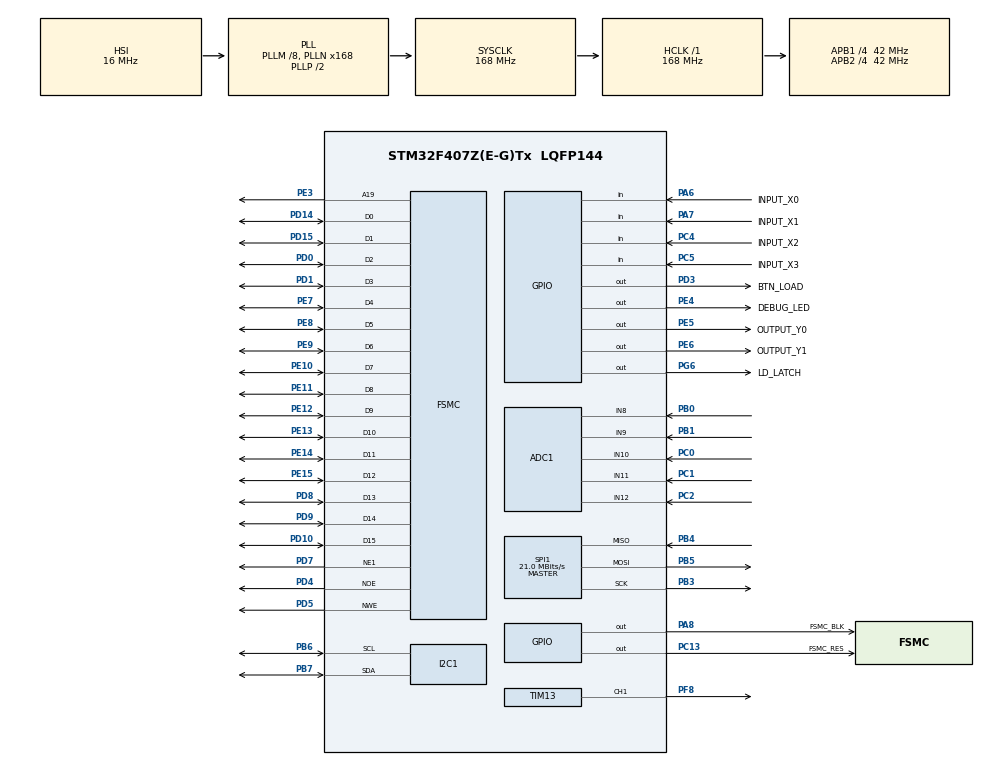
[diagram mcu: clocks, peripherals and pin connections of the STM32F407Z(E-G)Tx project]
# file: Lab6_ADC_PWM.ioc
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ADC1.Channel-0\#ChannelRegularConversion=ADC_CHANNEL_8
ADC1.Channel-1\#ChannelRegularConversion=ADC_CHANNEL_9
ADC1.Channel-2\#ChannelRegularConversion=ADC_CHANNEL_10
ADC1.Channel-3\#ChannelRegularConversion=ADC_CHANNEL_11
ADC1.Channel-4\#ChannelRegularConversion=ADC_CHANNEL_12
ADC1.NbrOfConversion=5
ADC1.NbrOfConversionFlag=1
ADC1.Rank-0\#ChannelRegularConversion=1
ADC1.Rank-1\#ChannelRegularConversion=2
ADC1.Rank-2\#ChannelRegularConversion=3
ADC1.Rank-3\#ChannelRegularConversion=4
ADC1.Rank-4\#ChannelRegularConversion=5
ADC1.SamplingTime-0\#ChannelRegularConversion=ADC_SAMPLETIME_3CYCLES
ADC1.SamplingTime-1\#ChannelRegularConversion=ADC_SAMPLETIME_3CYCLES
ADC1.SamplingTime-2\#ChannelRegularConversion=ADC_SAMPLETIME_3CYCLES
ADC1.SamplingTime-3\#ChannelRegularConversion=ADC_SAMPLETIME_3CYCLES
ADC1.SamplingTime-4\#ChannelRegularConversion=ADC_SAMPLETIME_3CYCLES
ADC1.ScanConvMode=ENABLE
ADC1.master=1
Dma.ADC1.0.Direction=DMA_PERIPH_TO_MEMORY
Dma.ADC1.0.FIFOMode=DMA_FIFOMODE_DISABLE
Dma.ADC1.0.Instance=DMA2_Stream0
Dma.ADC1.0.MemDataAlignment=DMA_MDATAALIGN_HALFWORD
Dma.ADC1.0.MemInc=DMA_MINC_ENABLE
Dma.ADC1.0.Mode=DMA_CIRCULAR
Dma.ADC1.0.PeriphDataAlignment=DMA_PDATAALIGN_HALFWORD
Dma.ADC1.0.PeriphInc=DMA_PINC_DISABLE
Dma.ADC1.0.Priority=DMA_PRIORITY_LOW
Dma.Request0=ADC1
FSMC.AddressSetupTime1=0xf
FSMC.BusTurnAroundDuration1=0
FSMC.DataSetupTime1=60
FSMC.ExtendedAddressSetupTime1=8
FSMC.ExtendedBusTurnAroundDuration1=0
FSMC.ExtendedDataSetupTime1=9
FSMC.ExtendedMode1=FSMC_EXTENDED_MODE_ENABLE
Mcu.Family=STM32F4
Mcu.Name=STM32F407Z(E-G)Tx
Mcu.Package=LQFP144
NVIC.DMA2_Stream0_IRQn=true\:0\:0\:false\:false\:true\:false\:true\:true
NVIC.PriorityGroup=NVIC_PRIORITYGROUP_4
NVIC.TIM2_IRQn=true\:0\:0\:false\:false\:true\:true\:true\:true
PA13.Mode=Serial_Wire
PA13.Signal=SYS_JTMS-SWDIO
PA14.Mode=Serial_Wire
PA14.Signal=SYS_JTCK-SWCLK
PA6.GPIO_Label=INPUT_X0
PA6.Signal=GPIO_Input
PA7.GPIO_Label=INPUT_X1
PA7.Signal=GPIO_Input
PA8.GPIO_Label=FSMC_BLK
PA8.Signal=GPIO_Output
PB0.Signal=ADCx_IN8
PB1.Signal=ADCx_IN9
PB3.Mode=Full_Duplex_Master
PB3.Signal=SPI1_SCK
PB4.Mode=Full_Duplex_Master
PB4.Signal=SPI1_MISO
PB5.Mode=Full_Duplex_Master
PB5.Signal=SPI1_MOSI
PB6.Mode=I2C
PB6.Signal=I2C1_SCL
PB7.Mode=I2C
PB7.Signal=I2C1_SDA
PC0.Signal=ADCx_IN10
PC1.Signal=ADCx_IN11
PC13-ANTI_TAMP.GPIO_Label=FSMC_RES
PC13-ANTI_TAMP.Signal=GPIO_Output
PC2.Signal=ADCx_IN12
PC4.GPIO_Label=INPUT_X2
PC4.Signal=GPIO_Input
PC5.GPIO_Label=INPUT_X3
PC5.Signal=GPIO_Input
PD0.Signal=FSMC_D2_DA2
PD1.Signal=FSMC_D3_DA3
PD10.Signal=FSMC_D15_DA15
PD14.Signal=FSMC_D0_DA0
PD15.Signal=FSMC_D1_DA1
PD3.GPIO_Label=BTN_LOAD
PD3.Signal=GPIO_Output
PD4.Signal=FSMC_NOE
PD5.Signal=FSMC_NWE
PD7.Mode=NorPsramChipSelect1_1
PD7.Signal=FSMC_NE1
PD8.Signal=FSMC_D13_DA13
PD9.Signal=FSMC_D14_DA14
PE10.Signal=FSMC_D7_DA7
PE11.Signal=FSMC_D8_DA8
PE12.Signal=FSMC_D9_DA9
PE13.Signal=FSMC_D10_DA10
PE14.Signal=FSMC_D11_DA11
PE15.Signal=FSMC_D12_DA12
PE3.Signal=FSMC_A19
PE4.GPIO_Label=DEBUG_LED
PE4.Signal=GPIO_Output
PE5.GPIO_Label=OUTPUT_Y0
PE5.Signal=GPIO_Output
PE6.GPIO_Label=OUTPUT_Y1
PE6.Signal=GPIO_Output
PE7.Signal=FSMC_D4_DA4
PE8.Signal=FSMC_D5_DA5
PE9.Signal=FSMC_D6_DA6
PF8.Signal=S_TIM13_CH1
PG6.GPIO_Label=LD_LATCH
PG6.Signal=GPIO_Output
PH0-OSC_IN.Mode=HSE-External-Oscillator
PH0-OSC_IN.Signal=RCC_OSC_IN
PH1-OSC_OUT.Mode=HSE-External-Oscillator
PH1-OSC_OUT.Signal=RCC_OSC_OUT
ProjectManager.HeapSize=0x200
ProjectManager.StackSize=0x400
ProjectManager.TargetToolchain=STM32CubeIDE
RCC.48MHZClocksFreq_Value=84000000
RCC.AHBFreq_Value=168000000
RCC.APB1CLKDivider=RCC_HCLK_DIV4
RCC.APB1Freq_Value=42000000
RCC.APB1TimFreq_Value=84000000
RCC.APB2CLKDivider=RCC_HCLK_DIV4
RCC.APB2Freq_Value=42000000
RCC.APB2TimFreq_Value=84000000
RCC.CortexFreq_Value=168000000
RCC.HCLKFreq_Value=168000000
RCC.HSE_VALUE=8000000
RCC.HSI_VALUE=16000000
RCC.LSE_VALUE=32768
RCC.PLLM=8
RCC.PLLN=168
RCC.SYSCLKFreq_VALUE=168000000
RCC.SYSCLKSource=RCC_SYSCLKSOURCE_PLLCLK
RCC.VCOOutputFreq_Value=336000000
SH.ADCx_IN10.0=ADC1_IN10,IN10
SH.ADCx_IN11.0=ADC1_IN11,IN11
SH.ADCx_IN12.0=ADC1_IN12,IN12
SH.ADCx_IN8.0=ADC1_IN8,IN8
SH.ADCx_IN9.0=ADC1_IN9,IN9
SH.FSMC_A19.0=FSMC_A19,A19_1
SH.FSMC_D0_DA0.0=FSMC_D0,16b-d1
SH.FSMC_D10_DA10.0=FSMC_D10,16b-d1
SH.FSMC_D11_DA11.0=FSMC_D11,16b-d1
SH.FSMC_D12_DA12.0=FSMC_D12,16b-d1
SH.FSMC_D13_DA13.0=FSMC_D13,16b-d1
SH.FSMC_D14_DA14.0=FSMC_D14,16b-d1
SH.FSMC_D15_DA15.0=FSMC_D15,16b-d1
SH.FSMC_D1_DA1.0=FSMC_D1,16b-d1
SH.FSMC_D2_DA2.0=FSMC_D2,16b-d1
SH.FSMC_D3_DA3.0=FSMC_D3,16b-d1
SH.FSMC_D4_DA4.0=FSMC_D4,16b-d1
SH.FSMC_D5_DA5.0=FSMC_D5,16b-d1
SH.FSMC_D6_DA6.0=FSMC_D6,16b-d1
SH.FSMC_D7_DA7.0=FSMC_D7,16b-d1
SH.FSMC_D8_DA8.0=FSMC_D8,16b-d1
SH.FSMC_D9_DA9.0=FSMC_D9,16b-d1
SH.FSMC_NOE.0=FSMC_NOE,Lcd1
SH.FSMC_NWE.0=FSMC_NWE,Lcd1
SH.S_TIM13_CH1.0=TIM13_CH1,PWM Generation1 CH1
SPI1.BaudRatePrescaler=SPI_BAUDRATEPRESCALER_2
SPI1.CalculateBaudRate=21.0 MBits/s
SPI1.Direction=SPI_DIRECTION_2LINES
SPI1.Mode=SPI_MODE_MASTER
SPI1.VirtualType=VM_MASTER
TIM13.Channel=TIM_CHANNEL_1
TIM13.Period=100-1
TIM13.Prescaler=840-1
TIM2.Period=100-1
TIM2.Prescaler=840-1
VP_TIM13_VS_ClockSourceINT.Mode=Enable_Timer
VP_TIM2_VS_ClockSourceINT.Mode=Internal
board=custom

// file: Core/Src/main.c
/* USER CODE BEGIN Header */
/**
 ******************************************************************************
 * @file           : main.c
 * @brief          : Main program body
 ******************************************************************************
 * @attention
 *
 * <h2><center>&copy; Copyright (c) 2023 STMicroelectronics.
 * All rights reserved.</center></h2>
 *
 * This software component is licensed by ST under BSD 3-Clause license,
 * the "License"; You may not use this file except in compliance with the
 * License. You may obtain a copy of the License at:
 *                        opensource.org/licenses/BSD-3-Clause
 *
 ******************************************************************************
 */
/* USER CODE END Header */
#include "main.h"
#include "adc.h"
#include "dma.h"
#include "i2c.h"
#include "spi.h"
#include "tim.h"
#include "gpio.h"
#include "fsmc.h"

/* USER CODE BEGIN Includes */
#include "software_timer.h"
#include "led_7seg.h"
#include "button.h"
#include "lcd.h"
#include "picture.h"
#include "ds3231.h"
#include "sensor.h"
#include "buzzer.h"
/* USER CODE END Includes */

void SystemClock_Config(void);
/* USER CODE BEGIN PFP */
void system_init();
void test_LedDebug();
void test_Buzzer();
void Adc();
void timer_count();
void test_7seg();
void int2time(int n);
/* USER CODE END PFP */

int main(void) {

	/* MCU Configuration--------------------------------------------------------*/

	/* Reset of all peripherals, Initializes the Flash interface and the Systick. */
	HAL_Init();

	/* Configure the system clock */
	SystemClock_Config();

	/* Initialize all configured peripherals */
	MX_GPIO_Init();
	MX_DMA_Init();
	MX_SPI1_Init();
	MX_FSMC_Init();
	MX_I2C1_Init();
	MX_TIM13_Init();
	MX_TIM2_Init();
	MX_ADC1_Init();
	/* USER CODE BEGIN 2 */
	system_init();
	/* USER CODE END 2 */

	/* Infinite loop */
	/* USER CODE BEGIN WHILE */
	lcd_Clear(BLACK);
	while (1) {
		while (!flag_timer2)
			;
		flag_timer2 = 0;
		button_Scan();
//		test_LedDebug();
		Adc();
//		test_Buzzer();
//		test_7seg();
		/* USER CODE END WHILE */

	}
}

void SystemClock_Config(void) {
	RCC_OscInitTypeDef RCC_OscInitStruct = { 0 };
	RCC_ClkInitTypeDef RCC_ClkInitStruct = { 0 };

	/** Configure the main internal regulator output voltage
	 */
	__HAL_RCC_PWR_CLK_ENABLE();
	__HAL_PWR_VOLTAGESCALING_CONFIG(PWR_REGULATOR_VOLTAGE_SCALE1);

	/** Initializes the RCC Oscillators according to the specified parameters
	 * in the RCC_OscInitTypeDef structure.
	 */
	RCC_OscInitStruct.OscillatorType = RCC_OSCILLATORTYPE_HSI;
	RCC_OscInitStruct.HSIState = RCC_HSI_ON;
	RCC_OscInitStruct.HSICalibrationValue = RCC_HSICALIBRATION_DEFAULT;
	RCC_OscInitStruct.PLL.PLLState = RCC_PLL_ON;
	RCC_OscInitStruct.PLL.PLLSource = RCC_PLLSOURCE_HSI;
	RCC_OscInitStruct.PLL.PLLM = 8;
	RCC_OscInitStruct.PLL.PLLN = 168;
	RCC_OscInitStruct.PLL.PLLP = RCC_PLLP_DIV2;
	RCC_OscInitStruct.PLL.PLLQ = 4;
	if (HAL_RCC_OscConfig(&RCC_OscInitStruct) != HAL_OK) {
		Error_Handler();
	}

	/** Initializes the CPU, AHB and APB buses clocks
	 */
	RCC_ClkInitStruct.ClockType = RCC_CLOCKTYPE_HCLK | RCC_CLOCKTYPE_SYSCLK
			| RCC_CLOCKTYPE_PCLK1 | RCC_CLOCKTYPE_PCLK2;
	RCC_ClkInitStruct.SYSCLKSource = RCC_SYSCLKSOURCE_PLLCLK;
	RCC_ClkInitStruct.AHBCLKDivider = RCC_SYSCLK_DIV1;
	RCC_ClkInitStruct.APB1CLKDivider = RCC_HCLK_DIV4;
	RCC_ClkInitStruct.APB2CLKDivider = RCC_HCLK_DIV4;

	if (HAL_RCC_ClockConfig(&RCC_ClkInitStruct, FLASH_LATENCY_5) != HAL_OK) {
		Error_Handler();
	}
}

/* USER CODE BEGIN 4 */
void system_init() {
	timer_init();
	button_init();
	lcd_init();
	sensor_init();
	buzzer_init();
	led7_init();
	setTimer2(50);
}

uint8_t count_led_debug = 0;
int counter = 0;

void test_LedDebug() {
	count_led_debug = (count_led_debug + 1) % 20;
	if (count_led_debug == 0) {
		HAL_GPIO_TogglePin(DEBUG_LED_GPIO_Port, DEBUG_LED_Pin);
	}
}

uint8_t isButtonUp() {
	if (button_count[3] == 1)
		return 1;
	else
		return 0;
}

uint8_t isButtonDown() {
	if (button_count[7] == 1)
		return 1;
	else
		return 0;
}

uint8_t isButtonRight() {
	if (button_count[11] == 1)
		return 1;
	else
		return 0;
}

uint8_t count_adc = 0;

void Adc() {
	count_adc = (count_adc + 1) % 20;
	if (count_adc == 0) {
		sensor_Read();
		lcd_ShowStr(10, 100, "Voltage:", RED, BLACK, 16, 0);
		lcd_ShowFloatNum(130, 100, sensor_GetVoltage(), 4, RED, BLACK, 16);
		lcd_ShowStr(170, 100, "(mV)", RED, BLACK, 16, 0);
//		lcd_ShowStr(10, 120, "Current:", RED, BLACK, 16, 0);
//		lcd_ShowFloatNum(130, 120, sensor_GetCurrent(), 4, RED, BLACK, 16);
		lcd_ShowStr(10, 120, "Light:", RED, BLACK, 16, 0);
		lcd_ShowIntNum(130, 120, sensor_GetLight(), 4, RED, BLACK, 16);
		if (sensor_GetLight() < 2048)
			lcd_ShowStr(170, 120, "Weak", RED, BLACK, 16, 0);
		else
			lcd_ShowStr(170, 120, "Strong", RED, BLACK, 16, 0);
//		lcd_ShowStr(10, 160, "Potentiometer:", RED, BLACK, 16, 0);
//		lcd_ShowIntNum(130, 160, sensor_GetPotentiometer(), 4, RED, BLACK, 16);
		lcd_ShowStr(10, 140, "Temperature:", RED, BLACK, 16, 0);
		lcd_ShowFloatNum(130, 140, sensor_GetTemperature(), 4, RED, BLACK, 16);
		lcd_ShowStr(170, 140, "(oC)", RED, BLACK, 16, 0);
		lcd_ShowStr(10, 160, "Humidity:", RED, BLACK, 16, 0);
		float temp = sensor_GetPotentiometer() * 0.024;
		lcd_ShowFloatNum(130, 160, temp, 4, RED, BLACK, 16);
		lcd_ShowStr(170, 160, "%", RED, BLACK, 16, 0);

		if (temp > 70) {
			buzzer_SetVolume(50);
			lcd_StrCenter(0, 200, "Alert!", RED, BLACK, 32, 0);
		} else {
			lcd_StrCenter(0, 200, "Alert!", BLACK, BLACK, 32, 0);
			buzzer_SetVolume(0);
		}
		counter = counter + 1;
		int2time(counter);
	}
}

void test_Buzzer() {
	if (isButtonUp()) {
		buzzer_SetVolume(50);
	}

	if (isButtonDown()) {
		buzzer_SetVolume(0);
	}

	if (isButtonRight()) {
		buzzer_SetVolume(25);
	}

}

void test_7seg() {
	//write number1 at led index 0 (not show dot)
	led7_SetDigit(1, 0, 0);
	led7_SetDigit(5, 1, 0);
	led7_SetDigit(4, 2, 0);
	led7_SetDigit(7, 3, 0);
}

void int2time(int n) {
	led7_SetDigit(n / 1000, 0, 0);
	n = n % 1000;
	led7_SetDigit(n / 100, 1, 0);
	n = n % 100;
	led7_SetDigit(n / 10, 2, 0);
	n = n % 10;
	led7_SetDigit(n, 3, 0);
}
/* USER CODE END 4 */

void Error_Handler(void) {
	__disable_irq();
	while (1) {
	}
}
